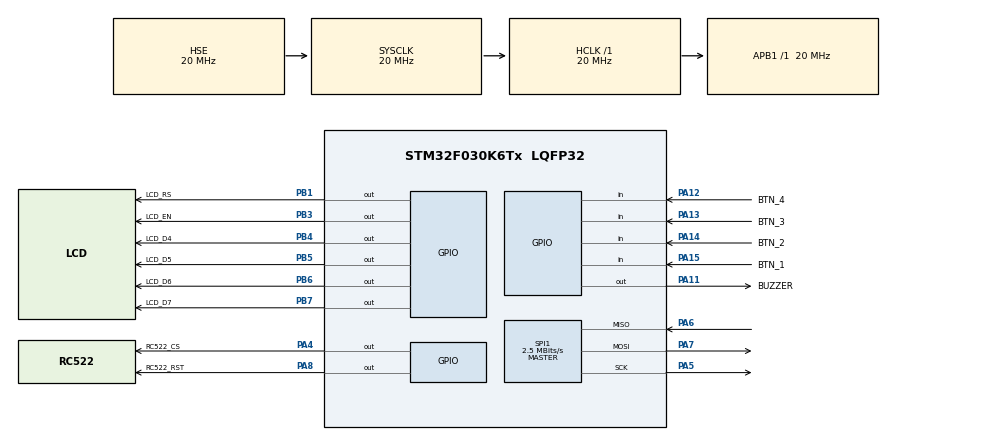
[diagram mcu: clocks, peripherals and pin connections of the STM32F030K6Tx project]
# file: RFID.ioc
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Mcu.Family=STM32F0
Mcu.Name=STM32F030K6Tx
Mcu.Package=LQFP32
PA11.GPIO_Label=BUZZER
PA11.Signal=GPIO_Output
PA12.GPIO_Label=BTN_4
PA12.GPIO_PuPd=GPIO_PULLUP
PA12.Signal=GPIO_Input
PA13.GPIO_Label=BTN_3
PA13.GPIO_PuPd=GPIO_PULLUP
PA13.Signal=GPIO_Input
PA14.GPIO_Label=BTN_2
PA14.GPIO_PuPd=GPIO_PULLUP
PA14.Signal=GPIO_Input
PA15.GPIO_Label=BTN_1
PA15.GPIO_PuPd=GPIO_PULLUP
PA15.Signal=GPIO_Input
PA4.GPIO_Label=RC522_CS
PA4.Signal=GPIO_Output
PA5.Mode=Full_Duplex_Master
PA5.Signal=SPI1_SCK
PA6.Mode=Full_Duplex_Master
PA6.Signal=SPI1_MISO
PA7.Mode=Full_Duplex_Master
PA7.Signal=SPI1_MOSI
PA8.GPIO_Label=RC522_RST
PA8.Signal=GPIO_Output
PB1.GPIO_Label=LCD_RS
PB1.Signal=GPIO_Output
PB3.GPIO_Label=LCD_EN
PB3.Signal=GPIO_Output
PB4.GPIO_Label=LCD_D4
PB4.Signal=GPIO_Output
PB5.GPIO_Label=LCD_D5
PB5.Signal=GPIO_Output
PB6.GPIO_Label=LCD_D6
PB6.Signal=GPIO_Output
PB7.GPIO_Label=LCD_D7
PB7.Signal=GPIO_Output
PF0-OSC_IN.Mode=HSE-External-Oscillator
PF0-OSC_IN.Signal=RCC_OSC_IN
PF1-OSC_OUT.Mode=HSE-External-Oscillator
PF1-OSC_OUT.Signal=RCC_OSC_OUT
ProjectManager.HeapSize=0x200
ProjectManager.StackSize=0x400
ProjectManager.TargetToolchain=STM32CubeIDE
RCC.AHBFreq_Value=20000000
RCC.APB1Freq_Value=20000000
RCC.APB1TimFreq_Value=20000000
RCC.HCLKFreq_Value=20000000
RCC.HSE_VALUE=20000000
RCC.PLLDivider=RCC_PREDIV_DIV2
RCC.PLLSourceVirtual=RCC_PLLSOURCE_HSE
RCC.SYSCLKFreq_VALUE=20000000
RCC.SYSCLKSource=RCC_SYSCLKSOURCE_HSE
SPI1.BaudRatePrescaler=SPI_BAUDRATEPRESCALER_8
SPI1.CalculateBaudRate=2.5 MBits/s
SPI1.DataSize=SPI_DATASIZE_8BIT
SPI1.Direction=SPI_DIRECTION_2LINES
SPI1.Mode=SPI_MODE_MASTER
SPI1.VirtualType=VM_MASTER
board=custom

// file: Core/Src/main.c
/* USER CODE BEGIN Header */
/**
  ******************************************************************************
  * @file           : main.c
  * @brief          : Main program body
  ******************************************************************************
  * @attention
  *
  * Copyright (c) 2023 STMicroelectronics.
  * All rights reserved.
  *
  * This software is licensed under terms that can be found in the LICENSE file
  * in the root directory of this software component.
  * If no LICENSE file comes with this software, it is provided AS-IS.
  *
  ******************************************************************************
  */
/* USER CODE END Header */
#include "main.h"

/* USER CODE BEGIN Includes */
#include "lcd.h"
#include "rc522.h"
#include <stdbool.h>
/* USER CODE END Includes */

SPI_HandleTypeDef hspi1;

void SystemClock_Config(void);
static void MX_GPIO_Init(void);
static void MX_SPI1_Init(void);

/* USER CODE BEGIN 0 */

char screen1[16]="";
char screen2[16]="";
u_char status = 0;
u_char cardStr[16] = {0,0,0,0,0,0,0,0,0,0,0,0,0,0,0,0};
uint8_t serNum[5];
uint8_t key[] = {0xFF,0xFF,0xFF,0xFF,0xFF,0xFF};
uint8_t cardBlock[16];
uint8_t digit1 = 0;
uint8_t digit2 = 0;
uint8_t digit3 = 0;
uint32_t credit = 0;
bool cardState = false;

void singleBip()
{
	HAL_GPIO_WritePin(BUZZER_GPIO_Port, BUZZER_Pin, GPIO_PIN_SET);
	HAL_Delay(100);
	HAL_GPIO_WritePin(BUZZER_GPIO_Port, BUZZER_Pin, GPIO_PIN_RESET);
}

void multiBip(uint8_t cnt)
{
	for(uint8_t i=0; i<cnt; i++)
	{
		HAL_GPIO_WritePin(BUZZER_GPIO_Port, BUZZER_Pin, GPIO_PIN_SET);
		HAL_Delay(100);
		HAL_GPIO_WritePin(BUZZER_GPIO_Port, BUZZER_Pin, GPIO_PIN_RESET);
		HAL_Delay(100);
	}
}

void checkButtons()
{
	if(!HAL_GPIO_ReadPin(GPIOA, BTN_1_Pin))
	{
		if(digit1 != 9) {
			digit1++;
		}
		else {
			digit1 = 0;
		}

		credit = digit3 * 1000 + digit2 * 100 + digit1 * 10;

		lcdClear();
		lcdPrint(1,1,"KREDi YUKLE");
		sprintf(screen2,"KREDi : %d ",credit);
		lcdPrint(2,1,screen2);

		HAL_Delay(100);
	}

	if(!HAL_GPIO_ReadPin(GPIOA, BTN_2_Pin))
	{
		if(digit2 != 9) {
			digit2++;
		}
		else {
			digit2 = 0;
		}

		credit = digit3 * 1000 + digit2 * 100 + digit1 * 10;

		lcdClear();
		lcdPrint(1,1,"KREDi YUKLE");
		sprintf(screen2,"KREDi : %d ",credit);
		lcdPrint(2,1,screen2);

		HAL_Delay(100);
	}

	if(!HAL_GPIO_ReadPin(GPIOA, BTN_3_Pin))
	{
		if(digit3 != 9) {
			digit3++;
		}
		else {
			digit3 = 0;
		}

		credit = digit3 * 1000 + digit2 * 100 + digit1 * 10;

		lcdClear();
		lcdPrint(1,1,"KREDi YUKLE");
		sprintf(screen2,"KREDi : %d ",credit);
		lcdPrint(2,1,screen2);

		HAL_Delay(100);
	}

	if(!HAL_GPIO_ReadPin(GPIOA, BTN_4_Pin))
	{
		status = MFRC522_Request(PICC_REQIDL, cardStr);
		status = MFRC522_Anticoll(cardStr);
		memcpy(serNum,cardStr,5);

		if(status == MI_OK)
		{
			MFRC522_SelectTag(cardStr);
			uint8_t result = MFRC522_Auth(PICC_AUTHENT1A,2,key,serNum);

			status = MFRC522_Read(2,cardBlock);

			if(status == MI_OK)
			{
				cardBlock[0] = (credit & 0xFF);
				cardBlock[1] = ((credit >> 8) & 0xFF);
				cardBlock[2] = ((credit >> 16) & 0xFF);
				cardBlock[3] = ((credit >> 24) & 0xFF);

				status = MFRC522_Write(2, cardBlock);

				if(status == MI_OK)
				{
					multiBip(2);

					lcdClear();
					lcdPrint(1,1,"YUKLEME");
					lcdPrint(2,1,"TAMAMLANDI");

					HAL_Delay(2000);

					lcdClear();
					lcdPrint(1,1,"LUTFEN");
					lcdPrint(2,1,"KART OKUTUN");

					cardState = false;

					MFRC522_Halt();
					MFRC522_Reset();
					MFRC522_Init();
				}
				else
				{
					multiBip(3);

					lcdClear();
					lcdPrint(1,1,"HATA OLUSTU");

					HAL_Delay(2000);

					lcdClear();
					lcdPrint(1,1,"LUTFEN");
					lcdPrint(2,1,"KART OKUTUN");

					cardState = false;

					MFRC522_Halt();
					MFRC522_Reset();
					MFRC522_Init();
				}
			}
		}
		else
		{
			multiBip(3);

			lcdClear();
			lcdPrint(1,1,"HATA OLUSTU");

			HAL_Delay(2000);

			lcdClear();
			lcdPrint(1,1,"LUTFEN");
			lcdPrint(2,1,"KART OKUTUN");

			cardState = false;

			MFRC522_Halt();
			MFRC522_Reset();
			MFRC522_Init();
		}
	}
}

void checkCard()
{
	if(!cardState)
	{
		status = MFRC522_Request(PICC_REQIDL, cardStr);
		status = MFRC522_Anticoll(cardStr);
		memcpy(serNum,cardStr,5);

		if(status == MI_OK)
		{
			MFRC522_SelectTag(cardStr);
			uint8_t result = MFRC522_Auth(PICC_AUTHENT1A,2,key,serNum);

			status = MFRC522_Read(2,cardBlock);

			if(status == MI_OK)
			{
				singleBip();

				int credit1 = cardBlock[3];
				int credit2 = cardBlock[2];
				int credit3 = cardBlock[1];
				int credit4 = cardBlock[0];

				credit = ((credit4 << 0) & 0xFF) + ((credit3 << 8) & 0xFFFF) + ((credit2 << 16) & 0xFFFFFF) + ((credit1 << 24) & 0xFFFFFFFF);

				if(credit > 9999)
				{
					credit = 9999;
				}

				digit3 = credit / 1000;
				digit2 = (credit % 1000) / 100;
				digit1 = (credit % 100) / 10;

				lcdClear();
				lcdPrint(1,1,"KREDi YUKLE");
				sprintf(screen2,"KREDi : %d",credit);
				lcdPrint(2,1,screen2);

				cardState = true;

				MFRC522_Halt();
				MFRC522_Reset();
				MFRC522_Init();
			}
			else
			{
				multiBip(3);

				lcdClear();
				lcdPrint(1,1,"HATA OLUSTU");

				HAL_Delay(2000);

				lcdClear();
				lcdPrint(1,1,"LUTFEN");
				lcdPrint(2,1,"KART OKUTUN");

				cardState = false;

				MFRC522_Halt();
				MFRC522_Reset();
				MFRC522_Init();
			}
		}
	}
}

/* USER CODE END 0 */

int main(void)
{

  /* MCU Configuration--------------------------------------------------------*/

  /* Reset of all peripherals, Initializes the Flash interface and the Systick. */
  HAL_Init();

  /* Configure the system clock */
  SystemClock_Config();

  /* Initialize all configured peripherals */
  MX_GPIO_Init();
  MX_SPI1_Init();
  /* USER CODE BEGIN 2 */
  lcdInit(_LCD_4BIT,_LCD_FONT_5x8,_LCD_2LINE);

  HAL_GPIO_WritePin(RC522_RST_GPIO_Port, RC522_RST_Pin, GPIO_PIN_SET);
  HAL_Delay(100);
  MFRC522_Init();

  status = Read_MFRC522(VersionReg);

  singleBip();

  lcdClear();
  lcdPrint(1,1,"LUTFEN");
  lcdPrint(2,1,"KART OKUTUN");

  /* USER CODE END 2 */

  /* Infinite loop */
  /* USER CODE BEGIN WHILE */
  while (1)
  {
	  checkCard();
	  checkButtons();
    /* USER CODE END WHILE */

  }
}

void SystemClock_Config(void)
{
  RCC_OscInitTypeDef RCC_OscInitStruct = {0};
  RCC_ClkInitTypeDef RCC_ClkInitStruct = {0};

  /** Initializes the RCC Oscillators according to the specified parameters
  * in the RCC_OscInitTypeDef structure.
  */
  RCC_OscInitStruct.OscillatorType = RCC_OSCILLATORTYPE_HSE;
  RCC_OscInitStruct.HSEState = RCC_HSE_ON;
  RCC_OscInitStruct.PLL.PLLState = RCC_PLL_NONE;
  if (HAL_RCC_OscConfig(&RCC_OscInitStruct) != HAL_OK)
  {
    Error_Handler();
  }

  /** Initializes the CPU, AHB and APB buses clocks
  */
  RCC_ClkInitStruct.ClockType = RCC_CLOCKTYPE_HCLK|RCC_CLOCKTYPE_SYSCLK
                              |RCC_CLOCKTYPE_PCLK1;
  RCC_ClkInitStruct.SYSCLKSource = RCC_SYSCLKSOURCE_HSE;
  RCC_ClkInitStruct.AHBCLKDivider = RCC_SYSCLK_DIV1;
  RCC_ClkInitStruct.APB1CLKDivider = RCC_HCLK_DIV1;

  if (HAL_RCC_ClockConfig(&RCC_ClkInitStruct, FLASH_LATENCY_0) != HAL_OK)
  {
    Error_Handler();
  }
}

static void MX_SPI1_Init(void)
{

  /* SPI1 parameter configuration*/
	hspi1.Instance = SPI1;
	hspi1.Init.Mode = SPI_MODE_MASTER;
	hspi1.Init.Direction = SPI_DIRECTION_2LINES;
	hspi1.Init.DataSize = SPI_DATASIZE_8BIT;
	hspi1.Init.CLKPolarity = SPI_POLARITY_LOW;
	hspi1.Init.CLKPhase = SPI_PHASE_1EDGE;
	hspi1.Init.NSS = SPI_NSS_SOFT;
	hspi1.Init.BaudRatePrescaler = SPI_BAUDRATEPRESCALER_8;
	hspi1.Init.FirstBit = SPI_FIRSTBIT_MSB;
	hspi1.Init.TIMode = SPI_TIMODE_DISABLE;
	hspi1.Init.CRCCalculation = SPI_CRCCALCULATION_DISABLE;
	hspi1.Init.CRCPolynomial = 7;
	hspi1.Init.CRCLength = SPI_CRC_LENGTH_DATASIZE;
	hspi1.Init.NSSPMode = SPI_NSS_PULSE_ENABLE;
	if (HAL_SPI_Init(&hspi1) != HAL_OK)
	{
	Error_Handler();
	}

}

static void MX_GPIO_Init(void)
{
  GPIO_InitTypeDef GPIO_InitStruct = {0};

  /* GPIO Ports Clock Enable */
  __HAL_RCC_GPIOF_CLK_ENABLE();
  __HAL_RCC_GPIOA_CLK_ENABLE();
  __HAL_RCC_GPIOB_CLK_ENABLE();

  /*Configure GPIO pin Output Level */
  HAL_GPIO_WritePin(GPIOA, RC522_CS_Pin|RC522_RST_Pin|BUZZER_Pin, GPIO_PIN_RESET);

  /*Configure GPIO pin Output Level */
  HAL_GPIO_WritePin(GPIOB, LCD_RS_Pin|LCD_EN_Pin|LCD_D4_Pin|LCD_D5_Pin
                          |LCD_D6_Pin|LCD_D7_Pin, GPIO_PIN_RESET);

  /*Configure GPIO pins : RC522_CS_Pin RC522_RST_Pin BUZZER_Pin */
  GPIO_InitStruct.Pin = RC522_CS_Pin|RC522_RST_Pin|BUZZER_Pin;
  GPIO_InitStruct.Mode = GPIO_MODE_OUTPUT_PP;
  GPIO_InitStruct.Pull = GPIO_NOPULL;
  GPIO_InitStruct.Speed = GPIO_SPEED_FREQ_LOW;
  HAL_GPIO_Init(GPIOA, &GPIO_InitStruct);

  /*Configure GPIO pins : LCD_RS_Pin LCD_EN_Pin LCD_D4_Pin LCD_D5_Pin
                           LCD_D6_Pin LCD_D7_Pin */
  GPIO_InitStruct.Pin = LCD_RS_Pin|LCD_EN_Pin|LCD_D4_Pin|LCD_D5_Pin
                          |LCD_D6_Pin|LCD_D7_Pin;
  GPIO_InitStruct.Mode = GPIO_MODE_OUTPUT_PP;
  GPIO_InitStruct.Pull = GPIO_NOPULL;
  GPIO_InitStruct.Speed = GPIO_SPEED_FREQ_LOW;
  HAL_GPIO_Init(GPIOB, &GPIO_InitStruct);

  /*Configure GPIO pins : BTN_4_Pin BTN_3_Pin BTN_2_Pin BTN_1_Pin */
  GPIO_InitStruct.Pin = BTN_4_Pin|BTN_3_Pin|BTN_2_Pin|BTN_1_Pin;
  GPIO_InitStruct.Mode = GPIO_MODE_INPUT;
  GPIO_InitStruct.Pull = GPIO_PULLUP;
  HAL_GPIO_Init(GPIOA, &GPIO_InitStruct);

}

void Error_Handler(void)
{
  __disable_irq();
  while (1)
  {
  }
}
